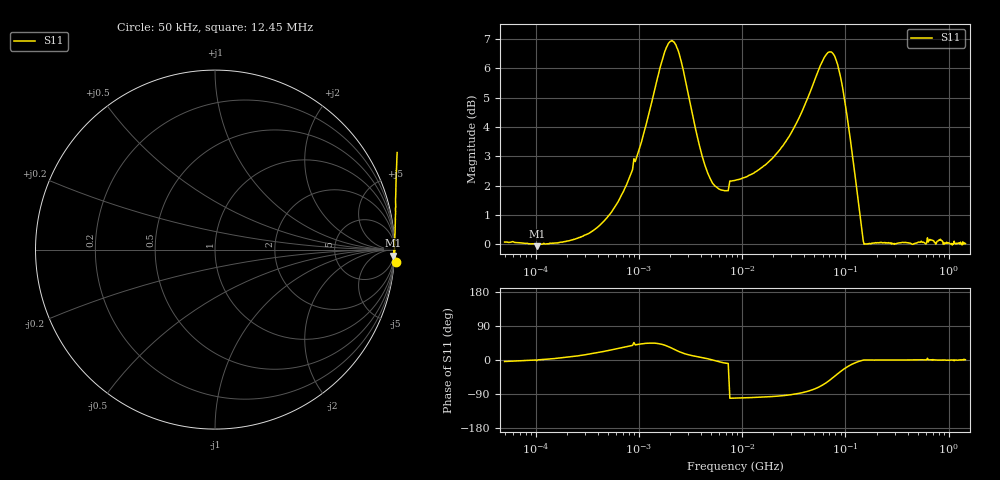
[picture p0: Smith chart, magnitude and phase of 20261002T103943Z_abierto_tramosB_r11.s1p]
! piloto_saltos / abierto_tramosB / r11
# HZ S RI R 50
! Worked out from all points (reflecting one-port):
!   501 points, 50 kHz to 1.45 GHz, reference 50 ohm
!   lowest |S11| = -0.1 dB at 102.5 kHz (marker M1), VSWR 256.65, Z = 672 - j2.86e+03 ohm
!   phase of S11 starts at -4 deg and turns +5 deg over the sweep
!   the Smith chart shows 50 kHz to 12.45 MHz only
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50000  1.006 -0.0702
102500  0.9917 -0.0329
182500  1.003 0.1059
381000  1.008 0.3372
678000  1.024 0.6507
1137000  1.134 1.083
1623000  1.495 1.355
1947000  1.808 1.262
2379000  1.967 0.8606
2811000  1.832 0.5286
3000000  1.75 0.4355
4620000  1.322 0.0782
6780000  1.221 -0.1726
8130000  -0.2385 -1.261
8670000  -0.2328 -1.265
1.92e7  -0.159 -1.388
3.27e7  0.00824 -1.596
4.89e7  0.4035 -1.836
5.7e7  0.7076 -1.887
6.51e7  1.053 -1.823
7.32e7  1.377 -1.621
8.67e7  1.651 -1.09
9.75e7  1.632 -0.6944
1.137e8  1.436 -0.3108
1.326e8  1.187 -0.0896
1.542e8  1.001 0.000644
4.035e8  1.005 0.0033
1.45e9  1.002 0.0137
